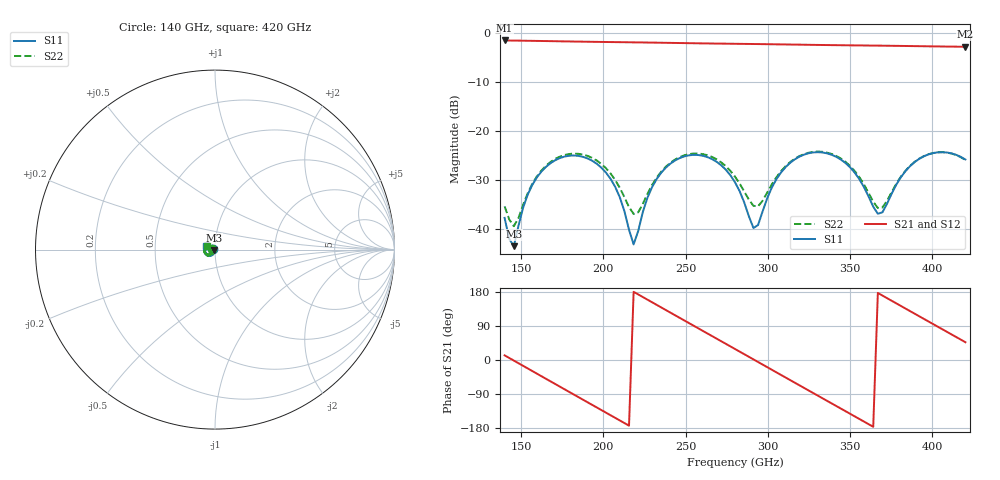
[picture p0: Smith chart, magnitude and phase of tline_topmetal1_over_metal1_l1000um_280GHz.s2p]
#  GHZ S DB R 50
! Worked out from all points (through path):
!   101 points, 140 GHz to 420 GHz, reference 50 ohm
!   highest |S21| = -1.45 dB at 140 GHz (marker M1); lowest = -2.7 dB at 420 GHz (marker M2)
!   group delay of S21, straight-line fit = 6.8 ps
!   lowest |S11| = -43.6 dB at 145.6 GHz (marker M3), VSWR 1.01, Z = 49.5 - j0.386 ohm
!   |S11| at or under -10 dB: start of sweep to end of sweep
!   |S22| runs from -39.5 to -24.2 dB; largest |S21 - S12| = 9.6e-14
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140  -37.83 152.2  -1.45 12.3  -1.45 12.3  -35.44 164.7
145.6  -43.62 -143.7  -1.47 -1.5  -1.47 -1.5  -39.53 -155.2
151.2  -35.78 -107.1  -1.50 -15.3  -1.50 -15.3  -35.18 -117.3
159.6  -29.53 -115.4  -1.54 -36.0  -1.54 -36.0  -29.33 -117.4
173.6  -25.55 -144.3  -1.62 -70.4  -1.62 -70.4  -25.26 -141.9
187.6  -25.31 -175.4  -1.69 -104.7  -1.69 -104.7  -24.84 -170.0
204.4  -29.83 150.8  -1.77 -145.8  -1.77 -145.8  -28.73 161.9
218.4  -43.27 -165.7  -1.83 179.9  -1.83 179.9  -37.02 -170.8
226.8  -33.69 -113.2  -1.87 159.2  -1.87 159.2  -32.91 -128.1
235.2  -28.55 -123.7  -1.91 138.6  -1.91 138.6  -28.33 -129.8
246.4  -25.56 -145.9  -1.97 111.2  -1.97 111.2  -25.36 -147.1
257.6  -24.93 -169.5  -2.03 83.8  -2.03 83.8  -24.63 -167.8
280  -30.52 150.1  -2.13 29.1  -2.13 29.1  -29.37 159.2
291.2  -39.90 -177.7  -2.17 1.6  -2.17 1.6  -35.35 -177.5
308  -28.50 -127.5  -2.25 -39.5  -2.25 -39.5  -28.24 -135.7
327.6  -24.40 -163.8  -2.35 -87.4  -2.35 -87.4  -24.28 -165.8
338.8  -24.89 174.2  -2.40 -114.7  -2.40 -114.7  -24.73 173.9
352.8  -28.57 151.9  -2.45 -148.9  -2.45 -148.9  -28.24 153.6
366.8  -36.98 179.4  -2.51 176.9  -2.51 176.9  -35.79 178.7
375.2  -32.85 -136.9  -2.54 156.3  -2.54 156.3  -32.53 -140.8
397.6  -24.80 -160.5  -2.65 101.6  -2.65 101.6  -24.78 -160.7
420  -25.85 159.6  -2.74 47.0  -2.74 47.0  -25.95 159.7
